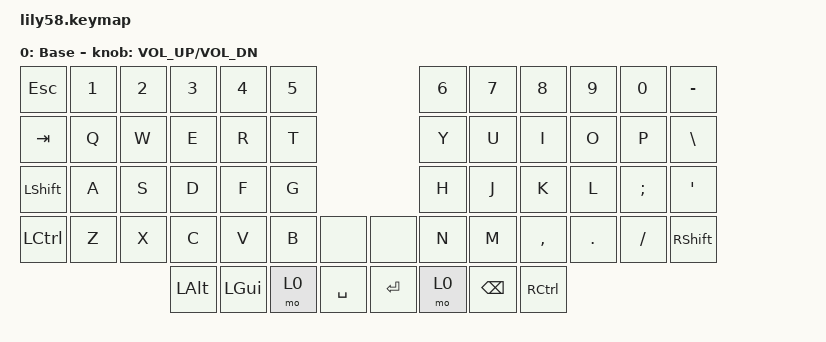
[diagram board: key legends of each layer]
/*
 * Copyright (c) 2020 The ZMK Contributors
 *
 * SPDX-License-Identifier: MIT
 */

#include <behaviors.dtsi>
#include <dt-bindings/zmk/keys.h>

/ {
    keymap {
        compatible = "zmk,keymap";

        default_layer {
            // ------------------------------------------------------------------------------------------------------------
            // |  ESC  |  1  |  2  |  3   |  4   |  5   |                   |  6   |  7    |  8    |  9   |   0   |   `   |
            // |  TAB  |  Q  |  W  |  E   |  R   |  T   |                   |  Y   |  U    |  I    |  O   |   P   |   -   |
            // |  CTRL |  A  |  S  |  D   |  F   |  G   |                   |  H   |  J    |  K    |  L   |   ;   |   '   |
            // | SHIFT |  Z  |  X  |  C   |  V   |  B   |   "["  |  |  "]"  |  N   |  M    |  ,    |  .   |   /   | SHIFT |
            //                     | ALT  | GUI  | LOWER|  SPACE |  | ENTER | RAISE| BSPC  | GUI   |

            label = "Base";
            bindings = <
&kp ESC         &kp N1  &kp N2  &kp N3    &kp N4    &kp N5                        &kp N6  &kp N7    &kp N8             &kp N9   &kp N0    &kp MINUS
&kp TAB         &kp Q   &kp W   &kp E     &kp R     &kp T                         &kp Y   &kp U     &kp I              &kp O    &kp P     &kp BACKSLASH
&kp LEFT_SHIFT  &kp A   &kp S   &kp D     &kp F     &kp G                         &kp H   &kp J     &kp K              &kp L    &kp SEMI  &kp SQT
&kp LCTRL       &kp Z   &kp X   &kp C     &kp V     &kp B   &none        &none    &kp N   &kp M     &kp COMMA          &kp DOT  &kp FSLH  &kp RSHFT
                                &kp LALT  &kp LGUI  &mo 0   &kp SPACE    &kp RET  &mo 0   &kp BSPC  &kp RIGHT_CONTROL
            >;

            sensor-bindings = <&inc_dec_kp C_VOL_UP C_VOL_DN>;
        };
    };
};
